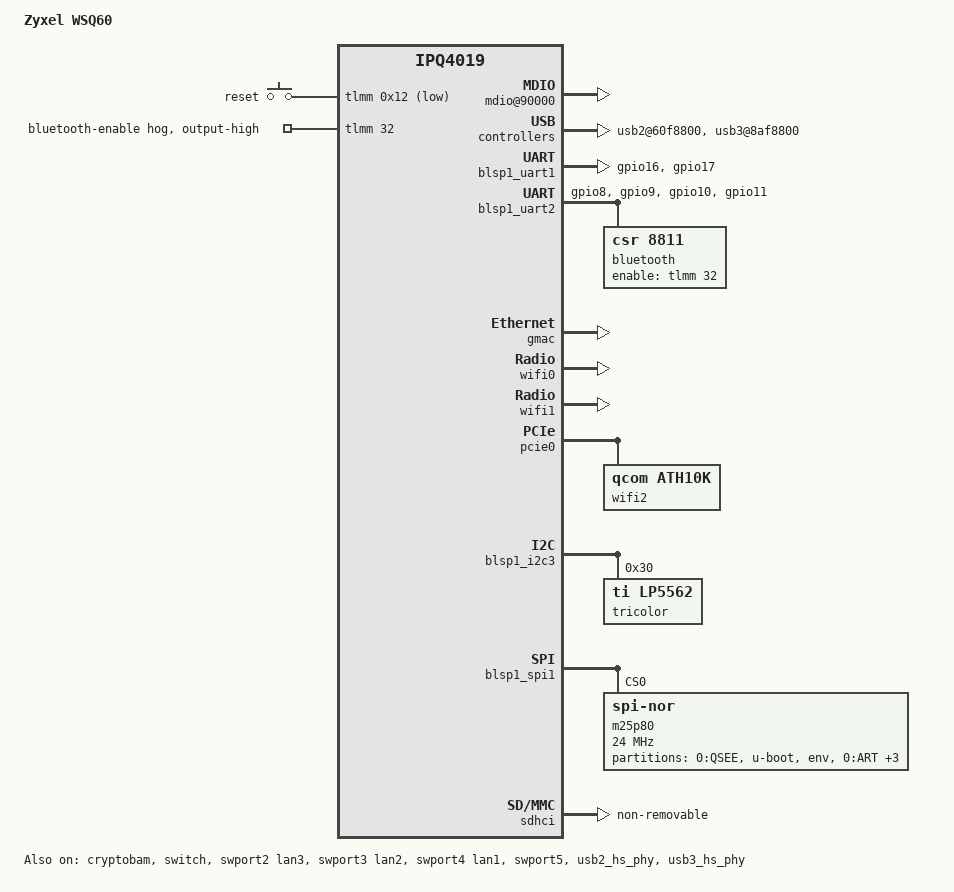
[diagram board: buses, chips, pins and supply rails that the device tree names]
// SPDX-License-Identifier: GPL-2.0-or-later OR MIT

#include "qcom-ipq4019.dtsi"
#include <dt-bindings/gpio/gpio.h>
#include <dt-bindings/input/input.h>
#include <dt-bindings/input/linux-event-codes.h>
#include <dt-bindings/soc/qcom,tcsr.h>
#include <dt-bindings/leds/common.h>

/ {
	model = "Zyxel WSQ60";
	compatible = "zyxel,wsq60";

	aliases {
		led-boot = &status_green;
		led-failsafe = &status_red;
		led-running = &status_green;
		led-upgrade = &status_blue;
	};

	chosen {
		bootargs-append = " clk_ignore_unused mtdparts= root=/dev/mmcblk0p8";
		stdout-path = &blsp1_uart1;
	};

	keys {
		compatible = "gpio-keys";

		reset {
			label = "reset";
			gpios = <&tlmm 0x12 GPIO_ACTIVE_LOW>;
			linux,code = <KEY_RESTART>;
		};
	};

	soc {
		rng@22000 {
			status = "okay";
		};

		mdio@90000 {
			status = "okay";
		};

		tcsr@1949000 {
			compatible = "qcom,tcsr";
			reg = <0x1949000 0x100>;
			qcom,wifi_glb_cfg = <TCSR_WIFI_GLB_CFG>;
		};

		tcsr@194b000 {
			compatible = "qcom,tcsr";
			reg = <0x194b000 0x100>;
			qcom,usb-hsphy-mode-select = <TCSR_USB_HSPHY_HOST_MODE>;
		};

		ess_tcsr@1953000 {
			compatible = "qcom,tcsr";
			reg = <0x1953000 0x1000>;
			qcom,ess-interface-select = <TCSR_ESS_PSGMII>;
		};

		tcsr@1957000 {
			compatible = "qcom,tcsr";
			reg = <0x1957000 0x100>;
			qcom,wifi_noc_memtype_m0_m2 = <TCSR_WIFI_NOC_MEMTYPE_M0_M2>;
		};

		usb2@60f8800 {
			status = "okay";
		};

		usb3@8af8800 {
			status = "okay";
		};

		watchdog@b017000 {
			status = "okay";
		};
	};
};

&tlmm {
	serial1_pins: serial1_pinmux {
		mux {
			pins = "gpio16", "gpio17";
			function = "blsp_uart1";
			bias-disable;
		};
	};
	serial2_pins: serial2_pinmux {
		mux {
			pins = "gpio8", "gpio9", "gpio10", "gpio11";
			function = "blsp_uart2";
			bias-disable;
		};
	};
	led_pins: led_pinmux {
		mux {
			output-high;
			bias-pull-up;
			drive-strength = <0x08>;
			pins = "gpio44", "gpio45", "gpio46";
		};
	};
	bluetooth-enable {
		gpio-hog;
		gpios = <32 GPIO_ACTIVE_HIGH>;
		output-high;
	};
};

&blsp1_uart1 {
	pinctrl-0 = <&serial1_pins>;
	pinctrl-names = "default";
	status = "okay";
};

&blsp1_uart2 {
	pinctrl-0 = <&serial2_pins>;
	pinctrl-names = "default";
	status = "okay";

	bluetooth {
		compatible = "csr,8811";

		enable-gpios = <&tlmm 32 GPIO_ACTIVE_HIGH>;
	};
};

&cryptobam {
	status = "okay";
};

&blsp_dma {
	status = "okay";
};

&gmac {
	status = "okay";
};

&switch {
	status = "okay";
};

&swport1 {
	status = "disabled";

	label = "lan4";
};

&swport2 {
	status = "okay";

	label = "lan3";
};

&swport3 {
	status = "okay";

	label = "lan2";
};

&swport4 {
	status = "okay";

	label = "lan1";
};

&swport5 {
	status = "okay";
};

&wifi0 {
	status = "okay";
	qcom,ath10k-calibration-variant = "Zyxel-WSQ60";
};

&wifi1 {
	status = "okay";
	qcom,ath10k-calibration-variant = "Zyxel-WSQ60";
};

&pcie0 { /* QCA9984 */
	status = "okay";
	perst-gpio = <&tlmm 38 GPIO_ACTIVE_LOW>;
	wake-gpio = <&tlmm 40 GPIO_ACTIVE_LOW>;
	clkreq-gpio = <&tlmm 39 GPIO_ACTIVE_LOW>;

	bridge@0,0 {
		reg = <0x00000000 0 0 0 0>;
		#address-cells = <3>;
		#size-cells = <2>;
		ranges;

		wifi2: wifi@1,0 {
			compatible = "qcom,ath10k";
			reg = <0x00010000 0 0 0 0>;
			qcom,ath10k-calibration-variant = "Zyxel-WSQ60";
			qcom,cal-len = <0x2f20>;
			qcom,cal-offset = <0x9000>;
			qcom,mtd-name = "0:ART";
		};
	};
};

&usb2_hs_phy {
	status = "okay";
};

&usb3_hs_phy {
	status = "okay";
};

&blsp1_i2c3 {
	status = "okay";

	tricolor: lp5562@30 {
		clock-mode = [01];
		compatible = "ti,lp5562";
		reg = <0x30>;
		#address-cells = <1>;
		#size-cells = <0>;

		status_red: chan@0 {
			chan-name = "red:status";
			led-cur = [c0];
			// linux,default-trigger = "timer";
			max-cur = [ff];
			reg = <0>;
			color = <LED_COLOR_ID_RED>;
		};

		status_green: chan@1 {
			chan-name = "green:status";
			led-cur = [5c];
			// linux,default-trigger = "timer";
			max-cur = [ff];
			reg = <1>;
			color = <LED_COLOR_ID_GREEN>;
		};

		status_blue: chan@2 {
			chan-name = "blue:status";
			led-cur = [ff];
			// linux,default-trigger = "timer";
			max-cur = [ff];
			reg = <2>;
			color = <LED_COLOR_ID_BLUE>;
		};
	};
};

&blsp1_spi1 {
	status = "okay";

	m25p80@0 {
		compatible = "jedec,spi-nor", "n25q128a11";
		spi-max-frequency = <24000000>;
		reg = <0x00>;

		partitions {
			compatible = "fixed-partitions";
			#address-cells = <1>;
			#size-cells = <1>;

			partition0@0 {
				label = "0:QSEE";
				reg = <0x00060000 0x00060000>;
				read-only;
			};
			partition1@E0000 {
				label = "u-boot";
				reg = <0x000E0000 0x00080000>;
				read-only;
			};
			partition2@160000 {
				label = "env";
				reg = <0x00160000 0x00010000>;
				read-only;
			};
			partition3@170000 {
				label = "0:ART";
				reg = <0x00170000 0x00010000>;
				read-only;
			};
			partition4@180000 {
				label = "dualflag";
				reg = <0x00180000 0x00010000>;
			};
			partition5@190000 {
				label = "CRT";
				reg = <0x00190000 0x00010000>;
				read-only;
			};
			partition6@1A0000 {
				label = "reserved";
				reg = <0x001A0000 0x00260000>;
			};
		};
	};
};

&sdhci {
	status = "okay";
	non-removable;
};
